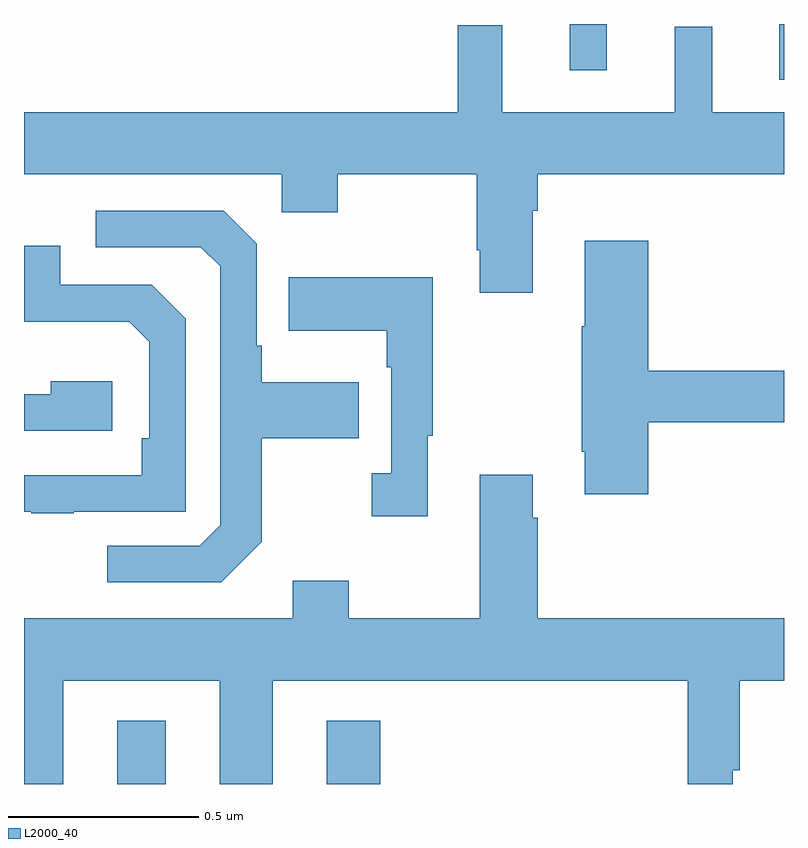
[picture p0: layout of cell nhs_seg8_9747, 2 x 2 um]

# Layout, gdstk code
import gdstk
lib = gdstk.Library(unit=1e-6, precision=1e-09)
def R(c, l, rs):  # rectangles x0, y0, x1, y1
    for r in rs: c.add(gdstk.rectangle(r[:2], r[2:], *l))
def P(c, l, *ps):  # polygons
    for p in ps: c.add(gdstk.Polygon(p, *l))
L2000_40 = (2000, 40)

nhs_seg8_9747 = lib.new_cell('nhs_seg8_9747')
R(nhs_seg8_9747, L2000_40, [(240.245,1110.9,240.373,1111.066), (240.797,1110.9,240.938,1111.066), (241.988,1112.753,242,1112.9), (241.436,1112.778,241.533,1112.9)])
P(nhs_seg8_9747, L2000_40, [(242,1112.668),(241.811,1112.668),(241.811,1112.893),(241.712,1112.893),(241.712,1112.668),(241.259,1112.668),(241.259,1112.897),(241.141,1112.897),(241.141,1112.668),(240,1112.668),(240,1112.504),(240.678,1112.504),(240.678,1112.405),(240.825,1112.405),(240.825,1112.504),(241.192,1112.504),(241.192,1112.305),(241.199,1112.305),(241.199,1112.193),(241.339,1112.193),(241.339,1112.408),(241.352,1112.408),(241.352,1112.504),(242,1112.504)],
  [(240.625,1111.537),(240.625,1111.81),(240.881,1111.81),(240.881,1111.957),(240.625,1111.957),(240.625,1112.053),(240.612,1112.053),(240.612,1112.322),(240.525,1112.409),(240.189,1112.409),(240.189,1112.313),(240.465,1112.313),(240.516,1112.262),(240.516,1111.581),(240.462,1111.527),(240.219,1111.527),(240.219,1111.431),(240.519,1111.431)],
  [(241.643,1111.852),(242,1111.852),(242,1111.988),(241.643,1111.988),(241.643,1112.329),(241.475,1112.329),(241.475,1112.105),(241.468,1112.105),(241.468,1111.774),(241.475,1111.774),(241.475,1111.662),(241.643,1111.662)],
  [(240.131,1111.617),(240.426,1111.617),(240.426,1112.124),(240.336,1112.214),(240.096,1112.214),(240.096,1112.316),(240,1112.316),(240,1112.117),(240.277,1112.117),(240.33,1112.064),(240.33,1111.81),(240.31,1111.81),(240.31,1111.713),(240,1111.713),(240,1111.617),(240.019,1111.617),(240.019,1111.612),(240.131,1111.612)],
  [(241.063,1111.817),(241.075,1111.817),(241.075,1112.233),(240.697,1112.233),(240.697,1112.093),(240.954,1112.093),(240.954,1111.997),(240.966,1111.997),(240.966,1111.718),(240.915,1111.718),(240.915,1111.605),(241.063,1111.605)],
  [(240.232,1111.96),(240.071,1111.96),(240.071,1111.926),(240,1111.926),(240,1111.83),(240.232,1111.83)],
  [(240.103,1111.172),(240.515,1111.172),(240.515,1110.9),(240.655,1110.9),(240.655,1111.172),(241.747,1111.172),(241.747,1110.9),(241.865,1110.9),(241.865,1110.936),(241.883,1110.936),(241.883,1111.172),(242,1111.172),(242,1111.336),(241.352,1111.336),(241.352,1111.601),(241.339,1111.601),(241.339,1111.714),(241.199,1111.714),(241.199,1111.336),(240.855,1111.336),(240.855,1111.435),(240.707,1111.435),(240.707,1111.336),(240,1111.336),(240,1110.9),(240.103,1110.9)])

lib.write_gds('nhs_seg8_9747.gds')
